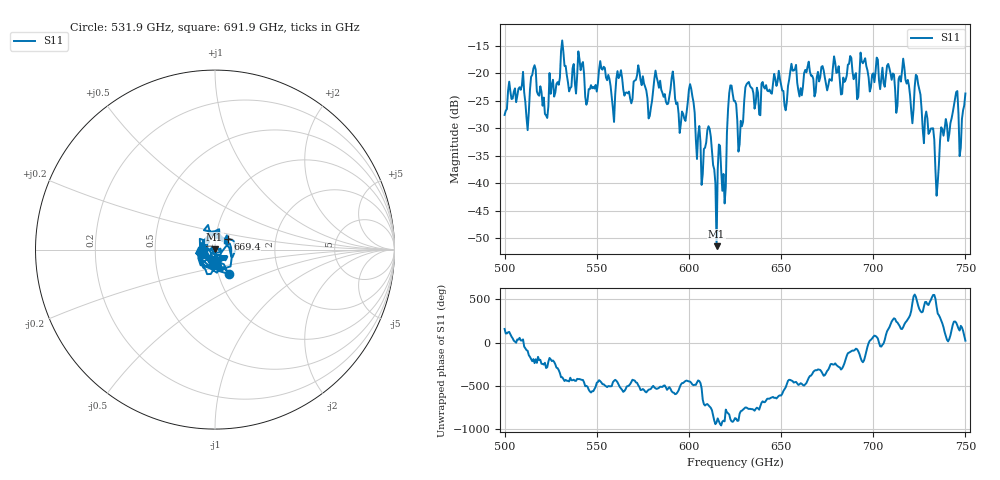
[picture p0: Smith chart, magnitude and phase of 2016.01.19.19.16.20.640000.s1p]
!Created with skrf (http://scikit-rf.org).
# GHz S RI R 50.0
!freq ReS11 ImS11
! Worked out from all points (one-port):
!   401 points, 500 GHz to 750 GHz, reference 50 ohm
!   lowest |S11| = -51.5 dB at 615 GHz (marker M1), VSWR 1.01, Z = 49.8 + j0.0914 ohm
!   |S11| at or under -10 dB: start of sweep to end of sweep
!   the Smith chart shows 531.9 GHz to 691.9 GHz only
!   S11 on the Smith chart (normalised r, x): 531.9 GHz: 1.12, -0.31; 669.4 GHz: 1.14, +0.14; 691.9 GHz: 0.97, -0.12
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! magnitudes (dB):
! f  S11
! 500 GHz  -27.6
! 508.8 GHz  -23.0
! 512.5 GHz  -30.4
! 515.6 GHz  -19.1
! 522.5 GHz  -27.7
! 531.2 GHz  -14.0
! 531.9 GHz  -16.1
! 545 GHz  -24.9
! 562.5 GHz  -20.4
! 593.8 GHz  -25.3
! 601.2 GHz  -22.8
! 605.6 GHz  -29.6
! 611.2 GHz  -30.1
! 615 GHz  -51.5
! 618.8 GHz  -38.3
! 621.9 GHz  -23.6
! 625 GHz  -25.0
! 628.1 GHz  -28.7
! 631.9 GHz  -21.8
! 651.9 GHz  -25.9
! 656.2 GHz  -19.5
! 669.4 GHz  -20.7
! 687.5 GHz  -16.9
! 691.9 GHz  -24.3
! 718.8 GHz  -21.2
! 724.4 GHz  -22.0
! 734.4 GHz  -42.3
! 750 GHz  -23.7
